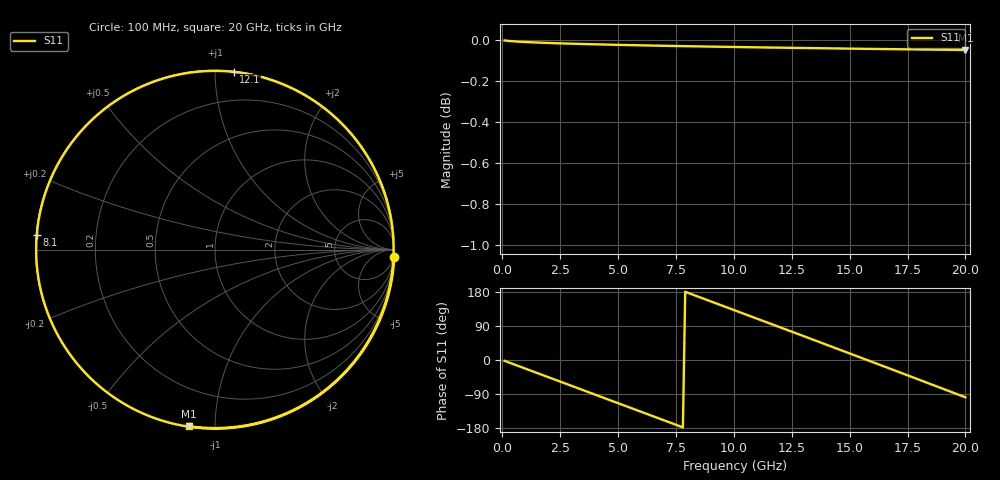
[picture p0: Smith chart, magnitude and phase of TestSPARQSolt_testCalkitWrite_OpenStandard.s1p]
# MHz MA S R 50.0
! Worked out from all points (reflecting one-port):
!   200 points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, 100 MHz to 20 GHz, reference 50 ohm
!   lowest |S11| = 0.0 dB at 20 GHz (marker M1), VSWR 347.55, Z = 0.251 - j43.1 ohm
!   phase of S11 starts at -2 deg and turns -456 deg over the sweep
!   S11 on the Smith chart (normalised r, x): 100 MHz: 1, -50; 8.1 GHz: 0.00, +0.04; 12.1 GHz: 0.00, +1.11; 20 GHz: 0.01, -0.86
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100  0.9996 -2.3
700  0.9989 -16.0
1300  0.9985 -29.7
2600  0.9979 -59.3
3300  0.9977 -75.3
3900  0.9975 -88.9
4500  0.9973 -102.6
5100  0.9971 -116.3
6400  0.9968 -145.9
7000  0.9966 -159.5
7600  0.9965 -173.2
8100  0.9963 175.4
9100  0.9961 152.6
10100  0.9959 129.7
11100  0.9957 106.9
12100  0.9955 84.0
12600  0.9954 72.5
13200  0.9953 58.8
13900  0.9952 42.7
14500  0.9951 28.9
15100  0.995 15.1
15700  0.9949 1.3
16300  0.9948 -12.6
16900  0.9947 -26.5
17600  0.9946 -42.7
18800  0.9944 -70.5
19400  0.9943 -84.5
20000  0.9943 -98.4
